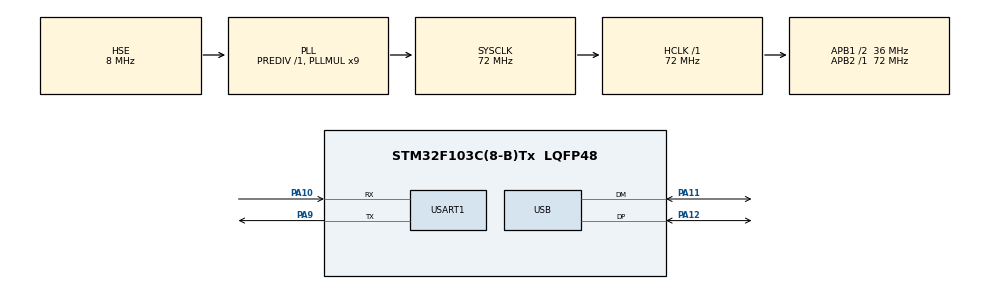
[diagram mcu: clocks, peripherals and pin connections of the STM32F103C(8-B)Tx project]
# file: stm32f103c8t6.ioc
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Mcu.Family=STM32F1
Mcu.Name=STM32F103C(8-B)Tx
Mcu.Package=LQFP48
NVIC.PriorityGroup=NVIC_PRIORITYGROUP_4
NVIC.USB_LP_CAN1_RX0_IRQn=true\:0\:0\:false\:false\:true\:true\:true
PA10.Mode=Asynchronous
PA10.Signal=USART1_RX
PA11.Mode=Device
PA11.Signal=USB_DM
PA12.Mode=Device
PA12.Signal=USB_DP
PA13.Mode=Serial_Wire
PA13.Signal=SYS_JTMS-SWDIO
PA14.Mode=Serial_Wire
PA14.Signal=SYS_JTCK-SWCLK
PA9.Mode=Asynchronous
PA9.Signal=USART1_TX
PD0-OSC_IN.Mode=HSE-External-Oscillator
PD0-OSC_IN.Signal=RCC_OSC_IN
PD1-OSC_OUT.Mode=HSE-External-Oscillator
PD1-OSC_OUT.Signal=RCC_OSC_OUT
ProjectManager.HeapSize=0x400
ProjectManager.StackSize=0x400
ProjectManager.TargetToolchain=MDK-ARM V5.27
RCC.AHBFreq_Value=72000000
RCC.APB1CLKDivider=RCC_HCLK_DIV2
RCC.APB1Freq_Value=36000000
RCC.APB1TimFreq_Value=72000000
RCC.APB2Freq_Value=72000000
RCC.APB2TimFreq_Value=72000000
RCC.HCLKFreq_Value=72000000
RCC.PLLMUL=RCC_PLL_MUL9
RCC.SYSCLKFreq_VALUE=72000000
RCC.SYSCLKSource=RCC_SYSCLKSOURCE_PLLCLK
RCC.USBFreq_Value=48000000
RCC.USBPrescaler=RCC_USBCLKSOURCE_PLL_DIV1_5
USART1.VirtualMode=VM_ASYNC
board=custom

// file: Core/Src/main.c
/* USER CODE BEGIN Header */
/**
  ******************************************************************************
  * @file           : main.c
  * @brief          : Main program body
  ******************************************************************************
  * @attention
  *
  * <h2><center>&copy; Copyright (c) 2021 STMicroelectronics.
  * All rights reserved.</center></h2>
  *
  * This software component is licensed by ST under Ultimate Liberty license
  * SLA0044, the "License"; You may not use this file except in compliance with
  * the License. You may obtain a copy of the License at:
  *                             www.st.com/SLA0044
  *
  ******************************************************************************
  */
/* USER CODE END Header */
#include "main.h"

/* USER CODE BEGIN Includes */
#include "usbd_core.h"
/* USER CODE END Includes */

UART_HandleTypeDef huart1;

PCD_HandleTypeDef hpcd_USB_FS;

void SystemClock_Config(void);
static void MX_GPIO_Init(void);
static void MX_USART1_UART_Init(void);
static void MX_USB_PCD_Init(void);

/* USER CODE BEGIN 0 */
int fputc(int ch, FILE *f)
{
    while ((USART1->SR & USART_SR_TXE) == 0)
        ;
    USART1->DR = ch;
    return ch;
}

void usb_dc_low_level_init(void)
{
    /* Peripheral clock enable */
    __HAL_RCC_USB_CLK_ENABLE();
    /* USB interrupt Init */
    HAL_NVIC_SetPriority(USB_LP_CAN1_RX0_IRQn, 0, 0);
    HAL_NVIC_EnableIRQ(USB_LP_CAN1_RX0_IRQn);

}

/* USER CODE END 0 */

int main(void)
{

  /* MCU Configuration--------------------------------------------------------*/

  /* Reset of all peripherals, Initializes the Flash interface and the Systick. */
  HAL_Init();

  /* Configure the system clock */
  SystemClock_Config();

  /* Initialize all configured peripherals */
  MX_GPIO_Init();
  MX_USART1_UART_Init();
  //MX_USB_PCD_Init();
  /* USER CODE BEGIN 2 */

    extern void cdc_acm_msc_init(void);
    cdc_acm_msc_init();

  /* USER CODE END 2 */

  /* Infinite loop */
    while (1) {

    /* USER CODE BEGIN 3 */
        extern void cdc_acm_data_send_with_dtr_test(void);
        cdc_acm_data_send_with_dtr_test();
        HAL_Delay(100);
    }
  /* USER CODE END 3 */
}

void SystemClock_Config(void)
{
  RCC_OscInitTypeDef RCC_OscInitStruct = {0};
  RCC_ClkInitTypeDef RCC_ClkInitStruct = {0};
  RCC_PeriphCLKInitTypeDef PeriphClkInit = {0};

  /** Initializes the RCC Oscillators according to the specified parameters
  * in the RCC_OscInitTypeDef structure.
  */
  RCC_OscInitStruct.OscillatorType = RCC_OSCILLATORTYPE_HSE;
  RCC_OscInitStruct.HSEState = RCC_HSE_ON;
  RCC_OscInitStruct.HSEPredivValue = RCC_HSE_PREDIV_DIV1;
  RCC_OscInitStruct.HSIState = RCC_HSI_ON;
  RCC_OscInitStruct.PLL.PLLState = RCC_PLL_ON;
  RCC_OscInitStruct.PLL.PLLSource = RCC_PLLSOURCE_HSE;
  RCC_OscInitStruct.PLL.PLLMUL = RCC_PLL_MUL9;
  if (HAL_RCC_OscConfig(&RCC_OscInitStruct) != HAL_OK)
  {
    Error_Handler();
  }
  /** Initializes the CPU, AHB and APB buses clocks
  */
  RCC_ClkInitStruct.ClockType = RCC_CLOCKTYPE_HCLK|RCC_CLOCKTYPE_SYSCLK
                              |RCC_CLOCKTYPE_PCLK1|RCC_CLOCKTYPE_PCLK2;
  RCC_ClkInitStruct.SYSCLKSource = RCC_SYSCLKSOURCE_PLLCLK;
  RCC_ClkInitStruct.AHBCLKDivider = RCC_SYSCLK_DIV1;
  RCC_ClkInitStruct.APB1CLKDivider = RCC_HCLK_DIV2;
  RCC_ClkInitStruct.APB2CLKDivider = RCC_HCLK_DIV1;

  if (HAL_RCC_ClockConfig(&RCC_ClkInitStruct, FLASH_LATENCY_2) != HAL_OK)
  {
    Error_Handler();
  }
  PeriphClkInit.PeriphClockSelection = RCC_PERIPHCLK_USB;
  PeriphClkInit.UsbClockSelection = RCC_USBCLKSOURCE_PLL_DIV1_5;
  if (HAL_RCCEx_PeriphCLKConfig(&PeriphClkInit) != HAL_OK)
  {
    Error_Handler();
  }
}

static void MX_USART1_UART_Init(void)
{

  huart1.Instance = USART1;
  huart1.Init.BaudRate = 115200;
  huart1.Init.WordLength = UART_WORDLENGTH_8B;
  huart1.Init.StopBits = UART_STOPBITS_1;
  huart1.Init.Parity = UART_PARITY_NONE;
  huart1.Init.Mode = UART_MODE_TX_RX;
  huart1.Init.HwFlowCtl = UART_HWCONTROL_NONE;
  huart1.Init.OverSampling = UART_OVERSAMPLING_16;
  if (HAL_UART_Init(&huart1) != HAL_OK)
  {
    Error_Handler();
  }

}

static void MX_USB_PCD_Init(void)
{

  hpcd_USB_FS.Instance = USB;
  hpcd_USB_FS.Init.dev_endpoints = 8;
  hpcd_USB_FS.Init.speed = PCD_SPEED_FULL;
  hpcd_USB_FS.Init.low_power_enable = DISABLE;
  hpcd_USB_FS.Init.lpm_enable = DISABLE;
  hpcd_USB_FS.Init.battery_charging_enable = DISABLE;
  if (HAL_PCD_Init(&hpcd_USB_FS) != HAL_OK)
  {
    Error_Handler();
  }

}

static void MX_GPIO_Init(void)
{

  /* GPIO Ports Clock Enable */
  __HAL_RCC_GPIOD_CLK_ENABLE();
  __HAL_RCC_GPIOA_CLK_ENABLE();

}

void Error_Handler(void)
{
    __disable_irq();
    while (1) {
    }
}

/************************ (C) COPYRIGHT STMicroelectronics *****END OF FILE****/
